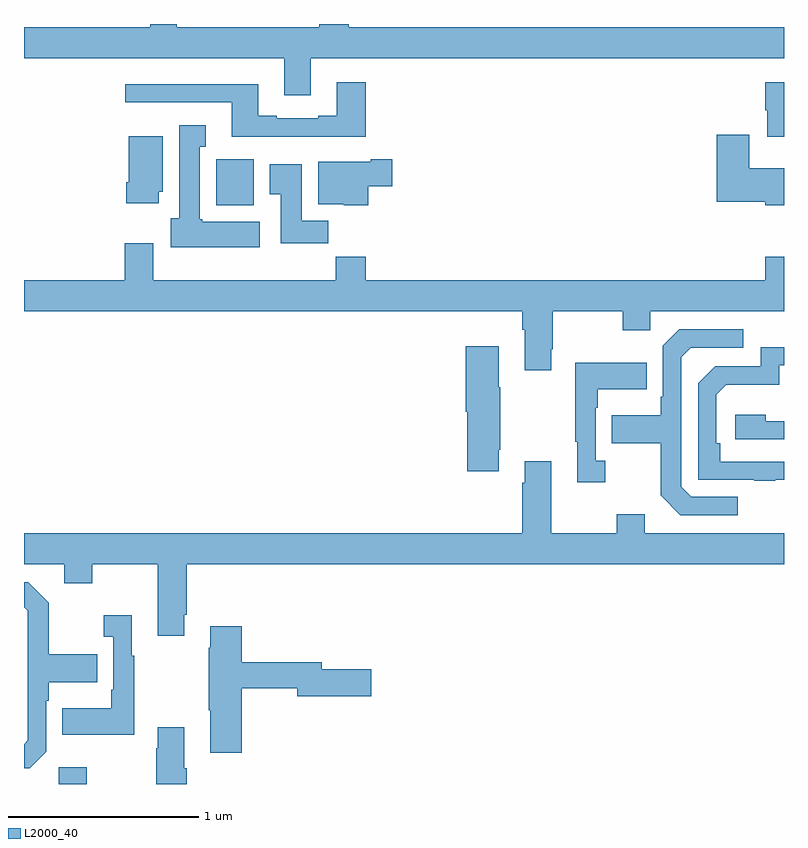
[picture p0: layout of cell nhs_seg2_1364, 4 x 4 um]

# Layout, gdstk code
import gdstk
lib = gdstk.Library(unit=1e-6, precision=1e-09)
def R(c, l, rs):  # rectangles x0, y0, x1, y1
    for r in rs: c.add(gdstk.rectangle(r[:2], r[2:], *l))
def P(c, l, *ps):  # polygons
    for p in ps: c.add(gdstk.Polygon(p, *l))
L2000_40 = (2000, 40)

nhs_seg2_1364 = lib.new_cell('nhs_seg2_1364')
R(nhs_seg2_1364, L2000_40, [(181.182,659.8,181.329,659.887), (182.012,662.846,182.209,663.088)])
P(nhs_seg2_1364, L2000_40, [(182.509,663.62),(185,663.62),(185,663.784),(182.708,663.784),(182.708,663.8),(182.555,663.8),(182.555,663.784),(181.803,663.784),(181.803,663.8),(181.665,663.8),(181.665,663.784),(181,663.784),(181,663.62),(182.369,663.62),(182.369,663.426),(182.509,663.426)],
  [(185,663.493),(184.901,663.493),(184.901,663.345),(184.913,663.345),(184.913,663.206),(185,663.206)],
  [(182.798,663.493),(182.645,663.493),(182.645,663.316),(182.549,663.316),(182.549,663.303),(182.329,663.303),(182.329,663.316),(182.233,663.316),(182.233,663.484),(181.533,663.484),(181.533,663.387),(182.093,663.387),(182.093,663.206),(182.798,663.206)],
  [(182.242,662.758),(181.938,662.758),(181.938,662.772),(181.924,662.772),(181.924,663.155),(181.957,663.155),(181.957,663.268),(181.817,663.268),(181.817,662.778),(181.772,662.778),(181.772,662.624),(182.242,662.624)],
  [(185,663.04),(184.816,663.04),(184.816,663.217),(184.646,663.217),(184.646,662.864),(184.902,662.864),(184.902,662.846),(185,662.846)],
  [(181.708,662.916),(181.729,662.916),(181.729,663.208),(181.55,663.208),(181.55,662.968),(181.538,662.968),(181.538,662.856),(181.708,662.856)],
  [(182.813,662.947),(182.938,662.947),(182.938,663.089),(182.825,663.089),(182.825,663.076),(182.549,663.076),(182.549,662.852),(182.682,662.852),(182.682,662.846),(182.813,662.846)],
  [(182.6,662.764),(182.461,662.764),(182.461,663.061),(182.294,663.061),(182.294,662.905),(182.351,662.905),(182.351,662.646),(182.6,662.646)],
  [(183.623,662.192),(183.635,662.192),(183.635,661.977),(183.775,661.977),(183.775,662.089),(183.783,662.089),(183.783,662.288),(184.15,662.288),(184.15,662.189),(184.296,662.189),(184.296,662.288),(185,662.288),(185,662.576),(184.901,662.576),(184.901,662.452),(182.798,662.452),(182.798,662.576),(182.641,662.576),(182.641,662.452),(181.681,662.452),(181.681,662.647),(181.529,662.647),(181.529,662.452),(181,662.452),(181,662.288),(183.623,662.288)],
  [(184.756,661.311),(184.512,661.311),(184.458,661.365),(184.458,662.046),(184.509,662.097),(184.786,662.097),(184.786,662.193),(184.449,662.193),(184.362,662.106),(184.362,661.837),(184.35,661.837),(184.35,661.741),(184.093,661.741),(184.093,661.594),(184.35,661.594),(184.35,661.321),(184.455,661.215),(184.756,661.215)],
  [(183.499,661.558),(183.507,661.558),(183.507,661.889),(183.499,661.889),(183.499,662.104),(183.326,662.104),(183.326,661.758),(183.332,661.758),(183.332,661.446),(183.499,661.446)],
  [(184.955,661.401),(185,661.401),(185,661.497),(184.664,661.497),(184.664,661.594),(184.644,661.594),(184.644,661.848),(184.697,661.901),(184.974,661.901),(184.974,662.004),(185,662.004),(185,662.1),(184.878,662.1),(184.878,661.998),(184.638,661.998),(184.548,661.908),(184.548,661.401),(184.843,661.401),(184.843,661.396),(184.955,661.396)],
  [(184.06,661.502),(184.008,661.502),(184.008,661.781),(184.021,661.781),(184.021,661.877),(184.277,661.877),(184.277,662.017),(183.9,662.017),(183.9,661.601),(183.911,661.601),(183.911,661.389),(184.06,661.389)],
  [(185,661.71),(184.904,661.71),(184.904,661.744),(184.743,661.744),(184.743,661.614),(185,661.614)],
  [(181.843,660.691),(181.856,660.691),(181.856,660.956),(185,660.956),(185,661.12),(184.267,661.12),(184.267,661.219),(184.12,661.219),(184.12,661.12),(183.775,661.12),(183.775,661.498),(183.635,661.498),(183.635,661.385),(183.623,661.385),(183.623,661.12),(181,661.12),(181,660.956),(181.211,660.956),(181.211,660.857),(181.359,660.857),(181.359,660.956),(181.703,660.956),(181.703,660.579),(181.843,660.579)],
  [(181.116,659.97),(181.116,660.239),(181.129,660.239),(181.129,660.335),(181.385,660.335),(181.385,660.483),(181.129,660.483),(181.129,660.755),(181.023,660.861),(181,660.861),(181,660.731),(181.02,660.711),(181.02,660.03),(181,660.01),(181,659.883),(181.029,659.883)],
  [(181.579,660.475),(181.567,660.475),(181.567,660.688),(181.419,660.688),(181.419,660.575),(181.47,660.575),(181.47,660.295),(181.458,660.295),(181.458,660.199),(181.201,660.199),(181.201,660.059),(181.579,660.059)],
  [(182.147,660.304),(182.438,660.304),(182.438,660.262),(182.827,660.262),(182.827,660.404),(182.566,660.404),(182.566,660.44),(182.147,660.44),(182.147,660.631),(181.979,660.631),(181.979,660.518),(181.972,660.518),(181.972,660.187),(181.979,660.187),(181.979,659.964),(182.147,659.964)],
  [(181.856,659.884),(181.843,659.884),(181.843,660.1),(181.703,660.1),(181.703,659.987),(181.696,659.987),(181.696,659.8),(181.856,659.8)])

lib.write_gds('nhs_seg2_1364.gds')
